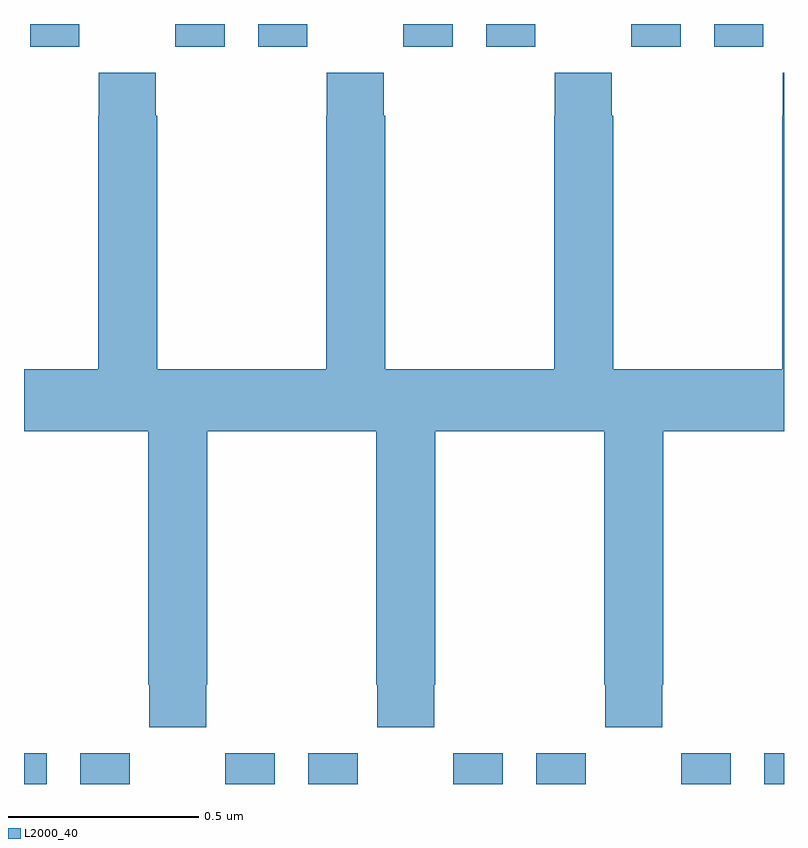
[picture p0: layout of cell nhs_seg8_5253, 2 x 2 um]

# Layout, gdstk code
import gdstk
lib = gdstk.Library(unit=1e-6, precision=1e-09)
def R(c, l, rs):  # rectangles x0, y0, x1, y1
    for r in rs: c.add(gdstk.rectangle(r[:2], r[2:], *l))
def P(c, l, *ps):  # polygons
    for p in ps: c.add(gdstk.Polygon(p, *l))
L2000_40 = (2000, 40)

nhs_seg8_5253 = lib.new_cell('nhs_seg8_5253')
R(nhs_seg8_5253, L2000_40, [(181,1120.9,181.06,1120.981), (181.148,1120.9,181.278,1120.981), (181.53,1120.9,181.66,1120.981), (181.748,1120.9,181.878,1120.981), (182.13,1120.9,182.26,1120.981), (182.348,1120.9,182.478,1120.981), (182.73,1120.9,182.86,1120.981), (182.948,1120.9,183,1120.981), (181.016,1122.84,181.146,1122.9), (181.398,1122.84,181.528,1122.9), (181.616,1122.84,181.746,1122.9), (181.998,1122.84,182.128,1122.9), (182.216,1122.84,182.346,1122.9), (182.598,1122.84,182.728,1122.9), (182.816,1122.84,182.946,1122.9)])
P(nhs_seg8_5253, L2000_40, [(181.479,1121.161),(181.482,1121.161),(181.482,1121.828),(181.927,1121.828),(181.927,1121.161),(181.929,1121.161),(181.929,1121.049),(182.079,1121.049),(182.079,1121.161),(182.082,1121.161),(182.082,1121.828),(182.527,1121.828),(182.527,1121.161),(182.529,1121.161),(182.529,1121.049),(182.679,1121.049),(182.679,1121.161),(182.682,1121.161),(182.682,1121.828),(183,1121.828),(183,1122.772),(182.997,1122.772),(182.997,1122.659),(182.995,1122.659),(182.995,1121.992),(182.55,1121.992),(182.55,1122.659),(182.547,1122.659),(182.547,1122.772),(182.397,1122.772),(182.397,1122.659),(182.395,1122.659),(182.395,1121.992),(181.95,1121.992),(181.95,1122.659),(181.947,1122.659),(181.947,1122.772),(181.797,1122.772),(181.797,1122.659),(181.795,1122.659),(181.795,1121.992),(181.35,1121.992),(181.35,1122.659),(181.347,1122.659),(181.347,1122.772),(181.197,1122.772),(181.197,1122.659),(181.195,1122.659),(181.195,1121.992),(181,1121.992),(181,1121.828),(181.327,1121.828),(181.327,1121.161),(181.329,1121.161),(181.329,1121.049),(181.479,1121.049)])

lib.write_gds('nhs_seg8_5253.gds')
